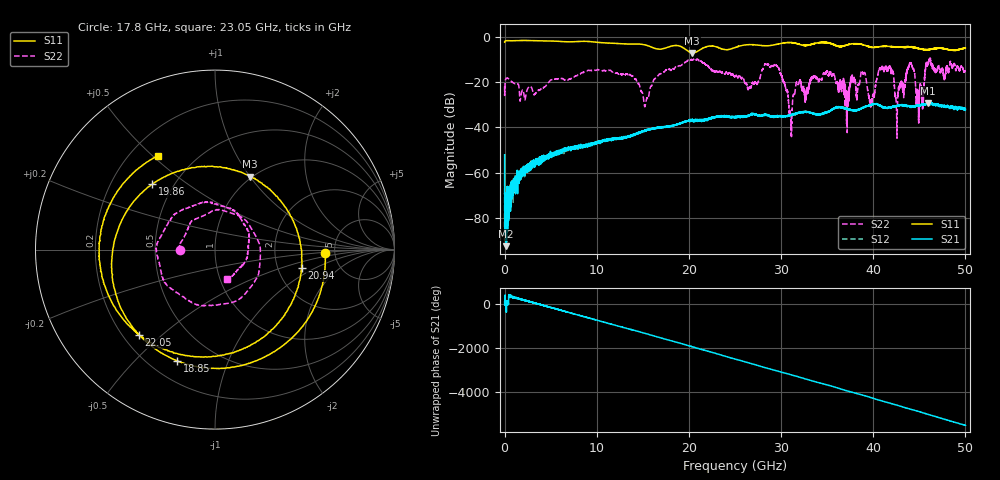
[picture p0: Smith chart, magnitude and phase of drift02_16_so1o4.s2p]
!Created with skrf (http://scikit-rf.org).
# Hz S RI R 50.0
!freq ReS11 ImS11 ReS21 ImS21 ReS12 ImS12 ReS22 ImS22
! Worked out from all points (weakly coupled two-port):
!   10001 points, 300 kHz to 50 GHz, reference 50 ohm
!   highest |S21| = -29.15 dB at 45.96 GHz (marker M1); lowest = -92.7 dB at 180.3 MHz (marker M2)
!   lowest |S11| = -6.9 dB at 20.36 GHz (marker M3), VSWR 2.64, Z = 49 + j50 ohm
!   |S11| at or under -10 dB: nowhere
!   |S22| runs from -44.8 to -9.3 dB; largest |S21 - S12| = 0.004
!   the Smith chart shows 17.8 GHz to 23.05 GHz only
!   S11 on the Smith chart (normalised r, x): 17.8 GHz: 4.15, -0.25; 18.85 GHz: 0.31, -0.67; 19.86 GHz: 0.38, +0.37; 20.94 GHz: 2.72, -0.73; 22.05 GHz: 0.26, -0.42; 23.05 GHz: 0.31, +0.52
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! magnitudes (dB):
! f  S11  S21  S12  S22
! 300 kHz  -2.1  -52.1  -67.3  -21.7
! 180.3 MHz  -1.4  -92.7  -73.2  -18.1
! 8.335 GHz  -1.7  -48.4  -48.6  -15.7
! 15.31 GHz  -3.4  -41.3  -41.3  -29.2
! 16.67 GHz  -5.2  -40.1  -40.4  -16.9
! 17.8 GHz  -4.2  -39.3  -39.5  -14.1
! 18.85 GHz  -3.7  -38.5  -38.4  -12.7
! 19.86 GHz  -5.9  -37.1  -37.1  -10.3
! 20.36 GHz  -6.9  -36.8  -37.0  -10.0
! 20.94 GHz  -6.1  -36.8  -36.9  -9.7
! 22.05 GHz  -3.9  -36.4  -36.4  -12.6
! 23.05 GHz  -4.3  -35.5  -35.2  -14.9
! 25 GHz  -4.5  -35.2  -35.1  -17.4
! 29.5 GHz  -3.1  -35.0  -35.2  -12.6
! 31.03 GHz  -2.3  -34.6  -34.8  -35.3
! 33.34 GHz  -3.0  -33.6  -33.5  -17.9
! 39.73 GHz  -4.2  -30.1  -30.0  -31.0
! 41.67 GHz  -4.0  -30.9  -31.1  -13.6
! 44.16 GHz  -4.1  -30.8  -30.7  -12.1
! 44.85 GHz  -4.8  -30.2  -30.3  -26.0
! 45.96 GHz  -5.5  -29.1  -29.2  -11.2
! 50 GHz  -4.7  -31.8  -32.2  -15.4
